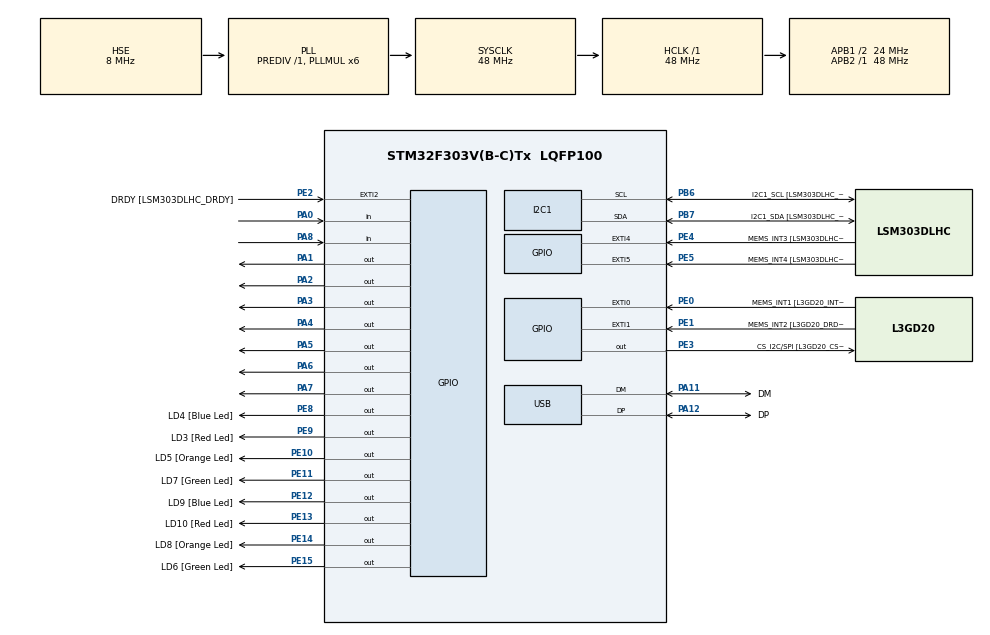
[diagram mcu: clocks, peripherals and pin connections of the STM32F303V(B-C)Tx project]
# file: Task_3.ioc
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I2C1.Timing=0x2000090E
I2C1.Timing-I2C=0x2000090E
Mcu.Family=STM32F3
Mcu.Name=STM32F303V(B-C)Tx
Mcu.Package=LQFP100
NVIC.PriorityGroup=NVIC_PRIORITYGROUP_0
PA0.Signal=GPIO_Input
PA1.Signal=GPIO_Output
PA11.GPIO_Label=DM
PA11.Mode=Device
PA11.Signal=USB_DM
PA12.GPIO_Label=DP
PA12.Mode=Device
PA12.Signal=USB_DP
PA13.GPIO_Label=SWDIO
PA13.Mode=Serial_Wire
PA13.Signal=SYS_JTMS-SWDIO
PA14.GPIO_Label=SWCLK
PA14.Mode=Serial_Wire
PA14.Signal=SYS_JTCK-SWCLK
PA2.Signal=GPIO_Output
PA3.Signal=GPIO_Output
PA4.Signal=GPIO_Output
PA5.Signal=GPIO_Output
PA6.Signal=GPIO_Output
PA7.Signal=GPIO_Output
PA8.Signal=GPIO_Input
PB3.GPIO_Label=SWO
PB3.Signal=SYS_JTDO-TRACESWO
PB6.GPIO_Label=I2C1_SCL [LSM303DLHC_SCL]
PB6.GPIO_Pu=GPIO_PULLUP
PB6.Mode=I2C
PB6.Signal=I2C1_SCL
PB7.GPIO_Label=I2C1_SDA [LSM303DLHC_SDA]
PB7.GPIO_Pu=GPIO_PULLUP
PB7.Mode=I2C
PB7.Signal=I2C1_SDA
PC14-OSC32_IN.GPIO_Label=OSC32_IN
PC14-OSC32_IN.Signal=RCC_OSC32_IN
PC15-OSC32_OUT.GPIO_Label=OSC32_OUT
PC15-OSC32_OUT.Signal=RCC_OSC32_OUT
PE0.GPIO_Label=MEMS_INT1 [L3GD20_INT1]
PE0.GPIO_ModeDefaultEXTI=GPIO_MODE_EVT_RISING
PE0.Signal=GPXTI0
PE1.GPIO_Label=MEMS_INT2 [L3GD20_DRDY/INT2]
PE1.GPIO_ModeDefaultEXTI=GPIO_MODE_EVT_RISING
PE1.Signal=GPXTI1
PE10.GPIO_Label=LD5 [Orange Led]
PE10.Signal=GPIO_Output
PE11.GPIO_Label=LD7 [Green Led]
PE11.Signal=GPIO_Output
PE12.GPIO_Label=LD9 [Blue Led]
PE12.Signal=GPIO_Output
PE13.GPIO_Label=LD10 [Red Led]
PE13.Signal=GPIO_Output
PE14.GPIO_Label=LD8 [Orange Led]
PE14.Signal=GPIO_Output
PE15.GPIO_Label=LD6 [Green Led]
PE15.Signal=GPIO_Output
PE2.GPIO_Label=DRDY [LSM303DLHC_DRDY]
PE2.GPIO_ModeDefaultEXTI=GPIO_MODE_EVT_RISING
PE2.Signal=GPXTI2
PE3.GPIO_Label=CS_I2C/SPI [L3GD20_CS_I2C/SPI]
PE3.Signal=GPIO_Output
PE4.GPIO_Label=MEMS_INT3 [LSM303DLHC_INT1]
PE4.GPIO_ModeDefaultEXTI=GPIO_MODE_EVT_RISING
PE4.Signal=GPXTI4
PE5.GPIO_Label=MEMS_INT4 [LSM303DLHC_INT2]
PE5.GPIO_ModeDefaultEXTI=GPIO_MODE_EVT_RISING
PE5.Signal=GPXTI5
PE8.GPIO_Label=LD4 [Blue Led]
PE8.Signal=GPIO_Output
PE9.GPIO_Label=LD3 [Red Led]
PE9.Signal=GPIO_Output
PF0-OSC_IN.GPIO_Label=OSC_IN
PF0-OSC_IN.Mode=HSE-External-Clock-Source
PF0-OSC_IN.Signal=RCC_OSC_IN
PF1-OSC_OUT.GPIO_Label=OSC_OUT
PF1-OSC_OUT.Signal=RCC_OSC_OUT
ProjectManager.HeapSize=0x200
ProjectManager.StackSize=0x400
ProjectManager.TargetToolchain=CMake
RCC.AHBFreq_Value=48000000
RCC.APB1CLKDivider=RCC_HCLK_DIV2
RCC.APB1Freq_Value=24000000
RCC.APB1TimFreq_Value=48000000
RCC.APB2Freq_Value=48000000
RCC.APB2TimFreq_Value=48000000
RCC.CortexFreq_Value=48000000
RCC.HCLKFreq_Value=48000000
RCC.HSE_VALUE=8000000
RCC.HSI_VALUE=8000000
RCC.LSE_VALUE=32768
RCC.PLLMUL=RCC_PLL_MUL6
RCC.SYSCLKFreq_VALUE=48000000
RCC.SYSCLKSourceVirtual=RCC_SYSCLKSOURCE_PLLCLK
RCC.USBFreq_Value=48000000
board=STM32F3DISCOVERY

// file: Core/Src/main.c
/* USER CODE BEGIN Header */
/**
  ******************************************************************************
  * @file           : main.c
  * @brief          : Main program body
  ******************************************************************************
  * @attention
  *
  * Copyright (c) 2026 STMicroelectronics.
  * All rights reserved.
  *
  * This software is licensed under terms that can be found in the LICENSE file
  * in the root directory of this software component.
  * If no LICENSE file comes with this software, it is provided AS-IS.
  *
  ******************************************************************************
  */
/* USER CODE END Header */
#include "main.h"

I2C_HandleTypeDef hi2c1;

PCD_HandleTypeDef hpcd_USB_FS;

void SystemClock_Config(void);
static void MX_GPIO_Init(void);
static void MX_I2C1_Init(void);
static void MX_USB_PCD_Init(void);

/* USER CODE BEGIN 0 */
  uint8_t student_id[] = {0,1,2,3,4,5,6,7,8,9,10,11,12,13,14,15}; // Example student ID: 023456789AbCdEF;
  uint8_t id_length = 16;
  uint8_t current_index = 0;
  void display_number(uint8_t num) {
      static const uint8_t segment_map[] = {
          0x40, // 0
          0x79, // 1
          0x24, // 2
          0x30, // 3
          0x19, // 4
          0x12, // 5
          0x02, // 6
          0x78, // 7
          0x00, // 8
          0x10, // 9
          0x08, // A
          0x03, // b
          0x46, // C
          0x21, // d
          0x06, // E
          0x0E  // F
      };

      // Ensure we don't go out of bounds (0-15)
      if (num > 15) return;

      uint8_t pattern = segment_map[num];

      HAL_GPIO_WritePin(GPIOA, GPIO_PIN_7, (pattern & 0x01) ? GPIO_PIN_SET : GPIO_PIN_RESET); // a
      HAL_GPIO_WritePin(GPIOA, GPIO_PIN_1, (pattern >> 1 & 0x01) ? GPIO_PIN_SET : GPIO_PIN_RESET); // b
      HAL_GPIO_WritePin(GPIOA, GPIO_PIN_2, (pattern >> 2 & 0x01) ? GPIO_PIN_SET : GPIO_PIN_RESET); // c
      HAL_GPIO_WritePin(GPIOA, GPIO_PIN_3, (pattern >> 3 & 0x01) ? GPIO_PIN_SET : GPIO_PIN_RESET); // d
      HAL_GPIO_WritePin(GPIOA, GPIO_PIN_4, (pattern >> 4 & 0x01) ? GPIO_PIN_SET : GPIO_PIN_RESET); // e
      HAL_GPIO_WritePin(GPIOA, GPIO_PIN_5, (pattern >> 5 & 0x01) ? GPIO_PIN_SET : GPIO_PIN_RESET); // f
      HAL_GPIO_WritePin(GPIOA, GPIO_PIN_6, (pattern >> 6 & 0x01) ? GPIO_PIN_SET : GPIO_PIN_RESET); // g
  }
/* USER CODE END 0 */

int main(void)
{

  /* MCU Configuration--------------------------------------------------------*/

  /* Reset of all peripherals, Initializes the Flash interface and the Systick. */
  HAL_Init();

  /* Configure the system clock */
  SystemClock_Config();

  /* Initialize all configured peripherals */
  MX_GPIO_Init();
  MX_I2C1_Init();
  MX_USB_PCD_Init();

  /* Infinite loop */
  while (1)
  {
    if (HAL_GPIO_ReadPin(GPIOA, GPIO_PIN_0) == GPIO_PIN_SET) {

        // 2. Debouncing: Wait a short time and check again
        HAL_Delay(50);
        if (HAL_GPIO_ReadPin(GPIOA, GPIO_PIN_0) == GPIO_PIN_SET) {

            // 3. Increment index and reset to 0 if at the end
            current_index++;
            if (current_index >= id_length) {
                current_index = 0;
            }

            // 4. Update the display
            display_number(student_id[current_index]);

            // 5. Wait for button release so it doesn't skip digits
            while (HAL_GPIO_ReadPin(GPIOA, GPIO_PIN_0) == GPIO_PIN_SET);
        }
    }
    else if (HAL_GPIO_ReadPin(GPIOA, GPIO_PIN_8) == GPIO_PIN_SET) {

        // 2. Debouncing: Wait a short time and check again
        HAL_Delay(50);
        if (HAL_GPIO_ReadPin(GPIOA, GPIO_PIN_8) == GPIO_PIN_SET) {

            if (current_index == 0) {
                current_index = 15;
            } else {
                current_index--;
            }

            // 4. Update the display
            display_number(student_id[current_index]);

            // 5. Wait for button release so it doesn't skip digits
            while (HAL_GPIO_ReadPin(GPIOA, GPIO_PIN_8) == GPIO_PIN_SET);
        }
    }
  }
}

void SystemClock_Config(void)
{
  RCC_OscInitTypeDef RCC_OscInitStruct = {0};
  RCC_ClkInitTypeDef RCC_ClkInitStruct = {0};
  RCC_PeriphCLKInitTypeDef PeriphClkInit = {0};

  /** Initializes the RCC Oscillators according to the specified parameters
  * in the RCC_OscInitTypeDef structure.
  */
  RCC_OscInitStruct.OscillatorType = RCC_OSCILLATORTYPE_HSI|RCC_OSCILLATORTYPE_HSE;
  RCC_OscInitStruct.HSEState = RCC_HSE_BYPASS;
  RCC_OscInitStruct.HSEPredivValue = RCC_HSE_PREDIV_DIV1;
  RCC_OscInitStruct.HSIState = RCC_HSI_ON;
  RCC_OscInitStruct.HSICalibrationValue = RCC_HSICALIBRATION_DEFAULT;
  RCC_OscInitStruct.PLL.PLLState = RCC_PLL_ON;
  RCC_OscInitStruct.PLL.PLLSource = RCC_PLLSOURCE_HSE;
  RCC_OscInitStruct.PLL.PLLMUL = RCC_PLL_MUL6;
  if (HAL_RCC_OscConfig(&RCC_OscInitStruct) != HAL_OK)
  {
    Error_Handler();
  }

  /** Initializes the CPU, AHB and APB buses clocks
  */
  RCC_ClkInitStruct.ClockType = RCC_CLOCKTYPE_HCLK|RCC_CLOCKTYPE_SYSCLK
                              |RCC_CLOCKTYPE_PCLK1|RCC_CLOCKTYPE_PCLK2;
  RCC_ClkInitStruct.SYSCLKSource = RCC_SYSCLKSOURCE_PLLCLK;
  RCC_ClkInitStruct.AHBCLKDivider = RCC_SYSCLK_DIV1;
  RCC_ClkInitStruct.APB1CLKDivider = RCC_HCLK_DIV2;
  RCC_ClkInitStruct.APB2CLKDivider = RCC_HCLK_DIV1;

  if (HAL_RCC_ClockConfig(&RCC_ClkInitStruct, FLASH_LATENCY_1) != HAL_OK)
  {
    Error_Handler();
  }
  PeriphClkInit.PeriphClockSelection = RCC_PERIPHCLK_USB|RCC_PERIPHCLK_I2C1;
  PeriphClkInit.I2c1ClockSelection = RCC_I2C1CLKSOURCE_HSI;
  PeriphClkInit.USBClockSelection = RCC_USBCLKSOURCE_PLL;
  if (HAL_RCCEx_PeriphCLKConfig(&PeriphClkInit) != HAL_OK)
  {
    Error_Handler();
  }
}

static void MX_I2C1_Init(void)
{

  hi2c1.Instance = I2C1;
  hi2c1.Init.Timing = 0x2000090E;
  hi2c1.Init.OwnAddress1 = 0;
  hi2c1.Init.AddressingMode = I2C_ADDRESSINGMODE_7BIT;
  hi2c1.Init.DualAddressMode = I2C_DUALADDRESS_DISABLE;
  hi2c1.Init.OwnAddress2 = 0;
  hi2c1.Init.OwnAddress2Masks = I2C_OA2_NOMASK;
  hi2c1.Init.GeneralCallMode = I2C_GENERALCALL_DISABLE;
  hi2c1.Init.NoStretchMode = I2C_NOSTRETCH_DISABLE;
  if (HAL_I2C_Init(&hi2c1) != HAL_OK)
  {
    Error_Handler();
  }

  /** Configure Analogue filter
  */
  if (HAL_I2CEx_ConfigAnalogFilter(&hi2c1, I2C_ANALOGFILTER_ENABLE) != HAL_OK)
  {
    Error_Handler();
  }

  /** Configure Digital filter
  */
  if (HAL_I2CEx_ConfigDigitalFilter(&hi2c1, 0) != HAL_OK)
  {
    Error_Handler();
  }

}

static void MX_USB_PCD_Init(void)
{

  hpcd_USB_FS.Instance = USB;
  hpcd_USB_FS.Init.dev_endpoints = 8;
  hpcd_USB_FS.Init.speed = PCD_SPEED_FULL;
  hpcd_USB_FS.Init.phy_itface = PCD_PHY_EMBEDDED;
  hpcd_USB_FS.Init.low_power_enable = DISABLE;
  hpcd_USB_FS.Init.battery_charging_enable = DISABLE;
  if (HAL_PCD_Init(&hpcd_USB_FS) != HAL_OK)
  {
    Error_Handler();
  }

}

static void MX_GPIO_Init(void)
{
  GPIO_InitTypeDef GPIO_InitStruct = {0};

  /* GPIO Ports Clock Enable */
  __HAL_RCC_GPIOE_CLK_ENABLE();
  __HAL_RCC_GPIOC_CLK_ENABLE();
  __HAL_RCC_GPIOF_CLK_ENABLE();
  __HAL_RCC_GPIOA_CLK_ENABLE();
  __HAL_RCC_GPIOB_CLK_ENABLE();

  /*Configure GPIO pin Output Level */
  HAL_GPIO_WritePin(GPIOE, CS_I2C_SPI_Pin|LD4_Pin|LD3_Pin|LD5_Pin
                          |LD7_Pin|LD9_Pin|LD10_Pin|LD8_Pin
                          |LD6_Pin, GPIO_PIN_RESET);

  /*Configure GPIO pin Output Level */
  HAL_GPIO_WritePin(GPIOA, GPIO_PIN_1|GPIO_PIN_2|GPIO_PIN_3|GPIO_PIN_4
                          |GPIO_PIN_5|GPIO_PIN_6|GPIO_PIN_7, GPIO_PIN_RESET);

  /*Configure GPIO pins : DRDY_Pin MEMS_INT3_Pin MEMS_INT4_Pin MEMS_INT1_Pin
                           MEMS_INT2_Pin */
  GPIO_InitStruct.Pin = DRDY_Pin|MEMS_INT3_Pin|MEMS_INT4_Pin|MEMS_INT1_Pin
                          |MEMS_INT2_Pin;
  GPIO_InitStruct.Mode = GPIO_MODE_EVT_RISING;
  GPIO_InitStruct.Pull = GPIO_NOPULL;
  HAL_GPIO_Init(GPIOE, &GPIO_InitStruct);

  /*Configure GPIO pins : CS_I2C_SPI_Pin LD4_Pin LD3_Pin LD5_Pin
                           LD7_Pin LD9_Pin LD10_Pin LD8_Pin
                           LD6_Pin */
  GPIO_InitStruct.Pin = CS_I2C_SPI_Pin|LD4_Pin|LD3_Pin|LD5_Pin
                          |LD7_Pin|LD9_Pin|LD10_Pin|LD8_Pin
                          |LD6_Pin;
  GPIO_InitStruct.Mode = GPIO_MODE_OUTPUT_PP;
  GPIO_InitStruct.Pull = GPIO_NOPULL;
  GPIO_InitStruct.Speed = GPIO_SPEED_FREQ_LOW;
  HAL_GPIO_Init(GPIOE, &GPIO_InitStruct);

  /*Configure GPIO pins : PA0 PA8 */
  GPIO_InitStruct.Pin = GPIO_PIN_0|GPIO_PIN_8;
  GPIO_InitStruct.Mode = GPIO_MODE_INPUT;
  GPIO_InitStruct.Pull = GPIO_NOPULL;
  HAL_GPIO_Init(GPIOA, &GPIO_InitStruct);

  /*Configure GPIO pins : PA1 PA2 PA3 PA4
                           PA5 PA6 PA7 */
  GPIO_InitStruct.Pin = GPIO_PIN_1|GPIO_PIN_2|GPIO_PIN_3|GPIO_PIN_4
                          |GPIO_PIN_5|GPIO_PIN_6|GPIO_PIN_7;
  GPIO_InitStruct.Mode = GPIO_MODE_OUTPUT_PP;
  GPIO_InitStruct.Pull = GPIO_NOPULL;
  GPIO_InitStruct.Speed = GPIO_SPEED_FREQ_LOW;
  HAL_GPIO_Init(GPIOA, &GPIO_InitStruct);

}

void Error_Handler(void)
{
  __disable_irq();
  while (1)
  {
  }
}
